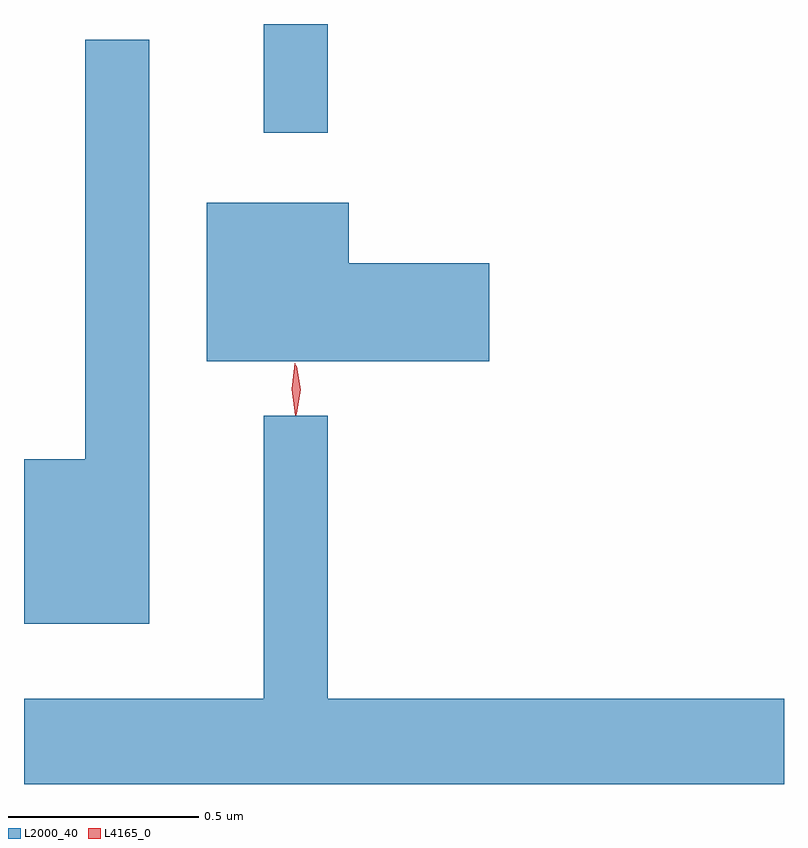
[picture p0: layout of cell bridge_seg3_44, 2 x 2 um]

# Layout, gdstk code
import gdstk
lib = gdstk.Library(unit=1e-6, precision=1e-09)
def R(c, l, rs):  # rectangles x0, y0, x1, y1
    for r in rs: c.add(gdstk.rectangle(r[:2], r[2:], *l))
def P(c, l, *ps):  # polygons
    for p in ps: c.add(gdstk.Polygon(p, *l))
L2000_40 = (2000, 40)
L4165_0 = (4165, 0)

bridge_seg3_44 = lib.new_cell('bridge_seg3_44')
R(bridge_seg3_44, L2000_40, [(1199.841,1165.513,1200.009,1165.799)])
P(bridge_seg3_44, L2000_40, [(1199.539,1165.758),(1199.371,1165.758),(1199.371,1164.654),(1199.21,1164.654),(1199.21,1164.221),(1199.539,1164.221)],
  [(1200.434,1165.169),(1200.064,1165.169),(1200.064,1165.329),(1199.691,1165.329),(1199.691,1164.911),(1200.434,1164.911)],
  [(1201.21,1164.024),(1200.009,1164.024),(1200.009,1164.768),(1199.841,1164.768),(1199.841,1164.024),(1199.21,1164.024),(1199.21,1163.799),(1201.21,1163.799)])
P(bridge_seg3_44, L4165_0, [(1199.924,1164.77),(1199.914,1164.838),(1199.923,1164.906),(1199.924,1164.906),(1199.924,1164.906),(1199.934,1164.838),(1199.926,1164.77),(1199.925,1164.77)],
  [(1199.927,1164.773),(1199.918,1164.836),(1199.927,1164.899),(1199.928,1164.9),(1199.928,1164.899),(1199.938,1164.836),(1199.928,1164.773),(1199.928,1164.773)])

lib.write_gds('bridge_seg3_44.gds')
